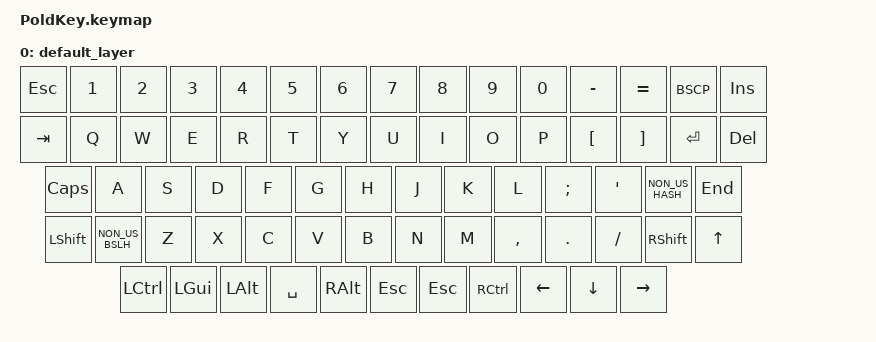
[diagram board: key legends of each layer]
#include <behaviors.dtsi>
#include <dt-bindings/zmk/keys.h>

/ {
    keymap {
        compatible = "zmk,keymap";

        default_layer {
// --------------------------------------------------------------------------------------------------------------------------------------------------------------------
// |   ESC   |    Q    |    W    |    E    |    R    |    T    |                                          |    Y    |    U    |    I    |    O    |    P    |    \    |
// |   TAB   |    A    |    S    |    D    |    F    |    G    |                                          |    H    |    J    |    K    |    L    |    ;    |    '    |
// |  SHIFT  |    Z    |    X    |    C    |    V    |    B    | CTRL+A  | CTRL+C  |  |  CTRL+V |  CTRL+X |    N    |    M    |    ,    |    .    |    /    |  R CTRL |
//                               |   GUI   |   DEL   | RETURN  |  SPACE  | ESCAPE  |  |  RETURN |  SPACE  |   TAB   |   BSPC  |  R ALT  |
            bindings = <
    &kp ESC  &kp N1  &kp N2  &kp N3  &kp N4  &kp N5  &kp N6  &kp N7  &kp N8  &kp N9  &kp N0 &kp MINUS  &kp EQUAL  &kp BSCP  &kp INSERT  
    &kp TAB  &kp Q  &kp W  &kp E  &kp R  &kp T  &kp Y  &kp U  &kp I  &kp O  &kp P  &kp LBKT  &kp RBKT  &kp RET  &kp DEL  
    &kp CLCK  &kp A  &kp S  &kp D  &kp F  &kp G  &kp H  &kp J  &kp K  &kp L  &kp SEMI  &kp SQT  &kp NON_US_HASH  &kp END  
    &kp LSHFT  &kp NON_US_BSLH  &kp Z  &kp X  &kp C  &kp V  &kp B  &kp N  &kp M  &kp COMMA  &kp DOT  &kp FSLH  &kp RSHFT  &kp UP  
    &kp LCTRL  &kp LGUI  &kp LALT  &kp SPACE  &kp RALT  &kp ESC  &kp ESC  &kp RCTRL  &kp LEFT  &kp DOWN  &kp RIGHT    
            >;
        };
    };
};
